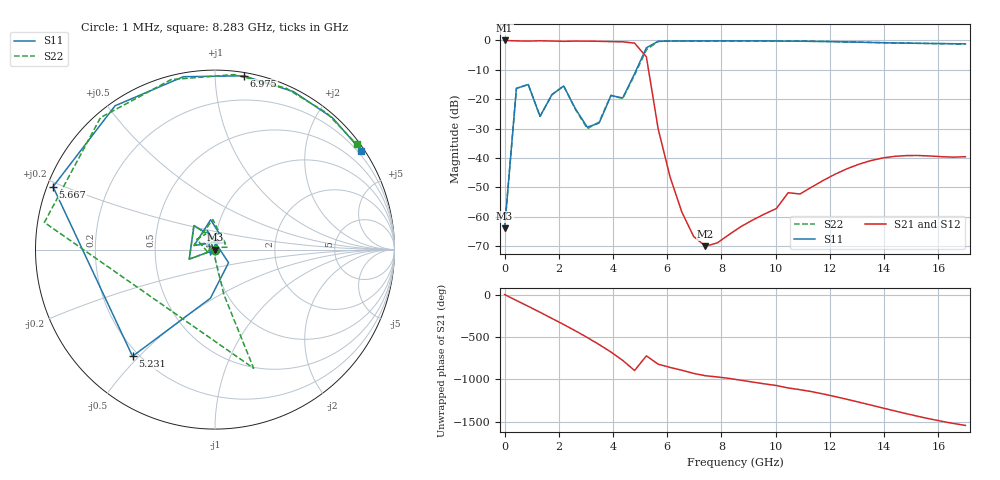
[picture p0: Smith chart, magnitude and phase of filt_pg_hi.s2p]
# GHz S RI R 50
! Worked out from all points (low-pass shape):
!   40 points, 1 MHz to 17 GHz, reference 50 ohm
!   highest |S21| = 0.00 dB at 1 MHz (marker M1); lowest = -70.0 dB at 7.411 GHz (marker M2)
!   |S21| within 3 dB of the highest: start of sweep to 4.991 GHz
!   lowest |S11| = -64.0 dB at 1 MHz (marker M3), VSWR 1.00, Z = 50.1 - j0.0368 ohm
!   |S11| at or under -10 dB: start of sweep to 4.86 GHz
!   |S22| runs from -64.0 to -0.1 dB; largest |S21 - S12| = 8.3e-14
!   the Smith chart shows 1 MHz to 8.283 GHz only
!   S11 on the Smith chart (normalised r, x): 1 MHz: 1.00, -0.00; 5.231 GHz: 0.18, -0.48; 5.667 GHz: 0.02, +0.19; 6.975 GHz: 0.02, +1.18; 8.283 GHz: 0.09, +3.26
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0.001  0.000517 -0.000367  0.9995 -0.00286  0.9995 -0.00286  0.000517 -0.000367
0.4368718  -0.1436 -0.0529  0.3372 -0.923  0.3372 -0.923  -0.1433 -0.0533
0.8727436  -0.1169 0.1341  -0.7316 -0.6442  -0.7316 -0.6442  -0.1179 0.1329
1.308615  0.0253 0.0445  -0.8633 0.4766  -0.8633 0.4766  0.0229 0.0455
1.744487  -0.117 0.0223  0.1857 0.959  0.1857 0.959  -0.1161 0.027
2.180359  -0.0242 0.1662  0.9598 0.1141  0.9598 0.1141  -0.0121 0.1673
2.616231  0.0564 0.0382  0.3637 -0.9047  0.3637 -0.9047  0.0659 0.0129
3.052103  0.00335 0.0333  -0.8115 -0.5368  -0.8115 -0.5368  -0.0291 0.0122
3.487974  -0.0249 -0.0304  -0.6342 0.7306  -0.6342 0.7306  -0.0361 -0.0191
3.923846  -0.0432 0.1068  0.7038 0.6459  0.7038 0.6459  -0.1016 0.0575
4.359718  0.0757 -0.0731  0.5283 -0.7873  0.5283 -0.7873  -0.0352 0.0964
4.79559  -0.0254 -0.2708  -0.8976 -0.0734  -0.8976 -0.0734  0.0505 -0.2533
5.231462  -0.4594 -0.5944  0.5255 -0.0217  0.5255 -0.0217  0.2153 -0.6613
5.667333  -0.9025 0.3504  -0.0057 -0.0306  -0.0057 -0.0306  -0.9506 0.1514
6.974949  0.1603 0.9683  -0.000403 0.000224  -0.000403 0.000224  0.1065 0.9751
7.410821  0.4377 0.88  -0.000175 0.000263  -0.000175 0.000263  0.3952 0.8995
8.282564  0.8148 0.5514  -1.77e-05 0.000498  -1.77e-05 0.000498  0.7903 0.5858
8.718436  0.9201 0.3475  0.000223 0.000643  0.000223 0.000643  0.9042 0.387
11.33367  0.5485 -0.7939  0.00141 -0.00288  0.00141 -0.00288  0.5978 -0.7595
12.64128  -0.1032 -0.9372  -0.00596 -0.00278  -0.00596 -0.00278  -0.0248 -0.9446
14.38477  -0.8233 -0.3797  0.00368 0.01  0.00368 0.01  -0.7756 -0.4722
17  -0.3583 0.7979  -0.00223 -0.0103  -0.00223 -0.0103  -0.4628 0.7358
